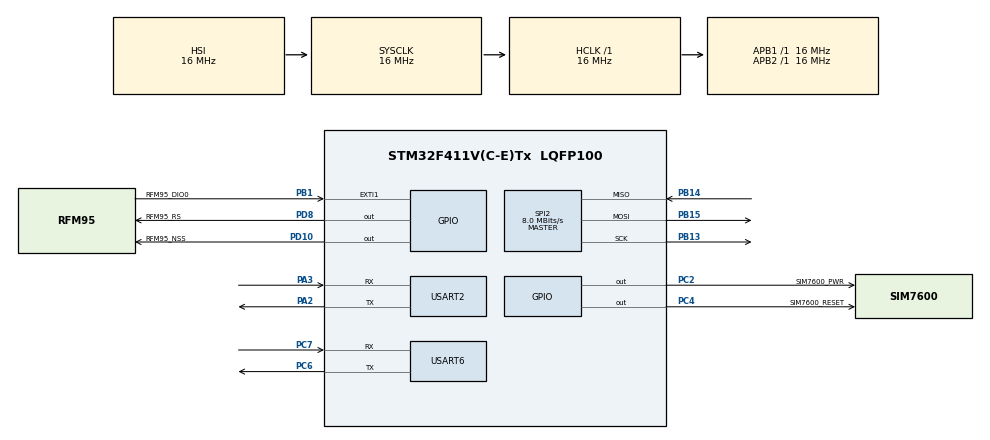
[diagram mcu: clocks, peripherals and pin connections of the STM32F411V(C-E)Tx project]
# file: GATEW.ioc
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Dma.Request0=USART2_RX
Dma.USART2_RX.0.Direction=DMA_PERIPH_TO_MEMORY
Dma.USART2_RX.0.FIFOMode=DMA_FIFOMODE_DISABLE
Dma.USART2_RX.0.Instance=DMA1_Stream5
Dma.USART2_RX.0.MemDataAlignment=DMA_MDATAALIGN_BYTE
Dma.USART2_RX.0.MemInc=DMA_MINC_ENABLE
Dma.USART2_RX.0.Mode=DMA_NORMAL
Dma.USART2_RX.0.PeriphDataAlignment=DMA_PDATAALIGN_BYTE
Dma.USART2_RX.0.PeriphInc=DMA_PINC_DISABLE
Dma.USART2_RX.0.Priority=DMA_PRIORITY_LOW
Mcu.Family=STM32F4
Mcu.Name=STM32F411V(C-E)Tx
Mcu.Package=LQFP100
NVIC.DMA1_Stream5_IRQn=true\:0\:0\:false\:false\:true\:false\:true\:true
NVIC.EXTI1_IRQn=true\:0\:0\:false\:false\:true\:true\:true\:true
NVIC.PriorityGroup=NVIC_PRIORITYGROUP_4
NVIC.USART2_IRQn=true\:0\:0\:true\:false\:true\:true\:true\:true
PA13.Mode=Serial_Wire
PA13.Signal=SYS_JTMS-SWDIO
PA14.Mode=Serial_Wire
PA14.Signal=SYS_JTCK-SWCLK
PA2.Mode=Asynchronous
PA2.Signal=USART2_TX
PA3.Mode=Asynchronous
PA3.Signal=USART2_RX
PB1.GPIO_Label=RFM95_DIO0
PB1.Signal=GPXTI1
PB13.Mode=Full_Duplex_Master
PB13.Signal=SPI2_SCK
PB14.Mode=Full_Duplex_Master
PB14.Signal=SPI2_MISO
PB15.Mode=Full_Duplex_Master
PB15.Signal=SPI2_MOSI
PC2.GPIO_Label=SIM7600_PWR
PC2.Signal=GPIO_Output
PC4.GPIO_Label=SIM7600_RESET
PC4.Signal=GPIO_Output
PC6.Mode=Asynchronous
PC6.Signal=USART6_TX
PC7.Mode=Asynchronous
PC7.Signal=USART6_RX
PD10.GPIO_Label=RFM95_NSS
PD10.Signal=GPIO_Output
PD8.GPIO_Label=RFM95_RS
PD8.Signal=GPIO_Output
ProjectManager.HeapSize=0x200
ProjectManager.StackSize=0x400
ProjectManager.TargetToolchain=STM32CubeIDE
RCC.AHBFreq_Value=16000000
RCC.APB1Freq_Value=16000000
RCC.APB2Freq_Value=16000000
RCC.CortexFreq_Value=16000000
RCC.HSE_VALUE=25000000
RCC.HSI_VALUE=16000000
RCC.LSE_VALUE=32768
RCC.SYSCLKFreq_VALUE=16000000
RCC.VCOOutputFreq_Value=192000000
SPI2.CalculateBaudRate=8.0 MBits/s
SPI2.Direction=SPI_DIRECTION_2LINES
SPI2.Mode=SPI_MODE_MASTER
SPI2.VirtualType=VM_MASTER
USART2.VirtualMode=VM_ASYNC
USART6.VirtualMode=VM_ASYNC
board=custom

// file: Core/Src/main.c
/* USER CODE BEGIN Header */
/**
 ******************************************************************************
 * @file           : main.c
 * @brief          : Main program body
 ******************************************************************************
 * @attention
 *
 * Copyright (c) 2024 STMicroelectronics.
 * All rights reserved.
 *
 * This software is licensed under terms that can be found in the LICENSE file
 * in the root directory of this software component.
 * If no LICENSE file comes with this software, it is provided AS-IS.
 *
 ******************************************************************************
 */
/* USER CODE END Header */
#include "main.h"

/* USER CODE BEGIN Includes */
#include "lora.h"
#include "rfm95.h"
#include "sim7600.h"

#include <stdio.h>
#include <string.h>
/* USER CODE END Includes */

/* USER CODE BEGIN PM */
#define LORA_RESPONSE_SIZE 100U
#define LORA_REQUEST_SIZE  100U
/* USER CODE END PM */

SPI_HandleTypeDef hspi2;

UART_HandleTypeDef huart2;
UART_HandleTypeDef huart6;
DMA_HandleTypeDef hdma_usart2_rx;

/* USER CODE BEGIN PV */
char *CosF = NULL;
char *Voltage = NULL;
char *Current = NULL;
char *Frequency = NULL;
char *ActivePower = NULL;
char *ReactivePower = NULL;
char *AvP = NULL;
char *AvQ = NULL;
char *CTT1 = NULL;
char *CTT2 = NULL;
char *CTT3 = NULL;
char *CTT4 = NULL;
char *coil1 = NULL;
char *coil2 = NULL;
char *coil3 = NULL;
char *coil4 = NULL;
RFM95_HandleTypeDef rfm95w = { 0 };
LORA_HandleTypeDef *lora;
uint8_t msgResLoRa[LORA_RESPONSE_SIZE] = { 0 };
uint8_t messLora[LORA_REQUEST_SIZE] = { 0 };

SIM_HandleTypeDef *simPtr;
SIM_HTTPTypeDef http = { 0 };
SIM_DataTypeDef simData = { 0 };
char pTime[100] = { };

uint8_t irqLoRaFlag = 0;
/* USER CODE END PV */

void SystemClock_Config(void);
static void MX_GPIO_Init(void);
static void MX_DMA_Init(void);
static void MX_SPI2_Init(void);
static void MX_USART2_UART_Init(void);
static void MX_USART6_UART_Init(void);
/* USER CODE BEGIN PFP */

void HAL_UARTEx_RxEventCallback(UART_HandleTypeDef *huart, uint16_t Size) {

	if (huart->Instance == USART2) {
		SIM_checkEvent(simPtr, Size);
	}
}
void HAL_GPIO_EXTI_Callback(uint16_t GPIO_Pin) {
	/* Wake up MCU from stop mode by any EXTI line */
	if (GPIO_Pin == rfm95w.dio0) {
		/* Set flag to read LoRa message */
		irqLoRaFlag = 1;
	}
}
/* USER CODE END PFP */

/* USER CODE BEGIN 0 */
void SIM_Init(void) {

	printf("%s\n", __FUNCTION__);
	/* Khởi tạo biến tĩnh để các giá trị khởi tạo không bị mất đi */
	static SIM7600_HandleTypeDef sim7600 = { 0 };

	/* Khởi tạo giá trị cho con tr�?, biến con tr�? là biến toàn cục */
	simPtr = (SIM_HandleTypeDef*) &sim7600;

	/* Khởi tạo giá trị của các member của struct */
	sim7600.hdma = &hdma_usart2_rx;
	sim7600.huart = &huart2;
	sim7600.smsCnt = 0;
	sim7600.smsPos = 0;
	sim7600.pwrkeyPin = SIM7600_PWR_Pin;
	sim7600.pwrkeyPort = SIM7600_PWR_GPIO_Port;
	sim7600.resetPort = SIM7600_RESET_GPIO_Port;
	sim7600.resetPin = SIM7600_RESET_Pin;
//    sim7600.sleepPort = SIM7600_DTR_GPIO_Port;
//    sim7600.sleepPin = SIM7600_DTR_Pin;
//    sim7600.powerEnPort = SIM7600_PWREN_GPIO_Port;
//    sim7600.powerEnPin = SIM7600_PWREN_Pin;
	sim7600.parent.CSR = 0;

	sim7600.parent.simSendATCommand = (simSendATCommand) &SIM7600_sendATCommand;
	sim7600.parent.simWakeup = (simWakeup) &SIM7600_wakeup;
	sim7600.parent.simSleep = (simSleep) &SIM7600_sleep;
	sim7600.parent.simInit = (simInit) &SIM7600_init;
	sim7600.parent.simSetFunction = (simSetFunction) &SIM7600_setFunction;
	sim7600.parent.simProcess = (simProcess) &SIM7600_process;
	sim7600.parent.simCheckEvent = (simCheckEvent) &SIM7600_checkEvent;
	sim7600.parent.simReadSMS = (simReadSMS) &SIM7600_readSMS;
	sim7600.parent.simSendSMS = (simSendSMS) &SIM7600_sendSMS;
	sim7600.parent.simGetSMSCounter = (simGetSMSCounter) &SIM7600_getSMSCounter;
	sim7600.parent.simCallUSSD = (simCallUSSD) &SIM7600_callUSSD;
	sim7600.parent.simGetRSSI = (simGetRSSI) &SIM7600_getRSSI;
	sim7600.parent.simGetTemperature =
			(simGetTemperature) &SIM7600_getTemperature;
	sim7600.parent.simGetNwtype = (simGetNwtype) &SIM7600_getNetworkType;
	sim7600.parent.simGetSimPhone = (simGetSimPhone) &SIM7600_getSimPhone;
	sim7600.parent.simGetIMEI = (simGetIMEI) &SIM7600_getIMEI;
	sim7600.parent.simGetLocalTime = (simGetLocalTime) &SIM7600_getLocalTime;
	sim7600.parent.simGetFileSize = (simGetFileSize) &SIM7600_getFileSize;
	sim7600.parent.simDeleteFile = (simDeleteFile) &SIM7600_deleteFile;
	sim7600.parent.simSetLocalTimeAuto =
			(simSetLocalTimeAuto) &SIM7600_setLocalTimeAuto;
	sim7600.parent.simSetLocalTimeManual =
			(simSetLocalTimeManual) &SIM7600_setLocalTimeManual;
	sim7600.parent.simSelectPhonebookMem =
			(simSelectPhonebookMem) &SIM7600_selectPhonebookMem;
	sim7600.parent.simSavePhonebook = (simSavePhonebook) &SIM7600_savePhonebook;
	sim7600.parent.simReadPhonebook = (simReadPhonebook) &SIM7600_readPhonebook;
	sim7600.parent.simFindPhonebook = (simFindPhonebook) &SIM7600_findPhonebook;
	sim7600.parent.simSendHTTP = (simSendHTTP) &SIM7600_sendHTTP;
	sim7600.parent.simGetFileHTTP = (simGetFileHTTP) &SIM7600_getFileHTTP;

	/* Khởi tạo module SIM */
	if (THT_OK != SIM_init(simPtr)) {
		printf("Sim init fail\n");

	} else {
		printf("Sim init OK");

		/* Dưa module SIM vào chế độ hoạt động đầy đủ chức năng */
		SIM_setFunction(simPtr, SIM_MODE_FULL);
		SIM_setLocalTimeAuto(simPtr);
		SIM_getLocalTime(simPtr, pTime, 22);
		SIM_getData(simPtr,
				SIM_DR_IMEI | SIM_DR_RSSI | SIM_DR_NWTYPE | SIM_DR_SIMPHONE
						| SIM_DR_TEMP, &simData);
	}
}

void LORA_begin() {
	lora = (LORA_HandleTypeDef*) &rfm95w;

	rfm95w.resetPort = RFM95_RS_GPIO_Port;
	rfm95w.resetPin = RFM95_RS_Pin;
	rfm95w.nssPort = RFM95_NSS_GPIO_Port;
	rfm95w.nssPin = RFM95_NSS_Pin;
	rfm95w.dio0Port = RFM95_DIO0_GPIO_Port;
	rfm95w.dio0 = RFM95_DIO0_Pin;
	rfm95w.hspi = &hspi2;

	rfm95w.parent.init = (loraInit) &RFM95_init;
	rfm95w.parent.transmit = (loraTransmit) &RFM95_transmit;
	rfm95w.parent.receive = (loraReceive) &RFM95_receiveContinuous;
	rfm95w.parent.startReceiveIT =
			(loraStartReceiveOnIRQ) &RFM95_startReceiveIT;
	rfm95w.parent.receiveIT = (loraReceiveOnIRQ) &RFM95_receiveIT;

	rfm95w.parent.getRSSI = (loraGetRSSI) &RFM95_getRSSI;

	if (LORA_init(lora) == THT_OK) {
		printf("LORA OK");
	} else {
		printf("LORA ERROR");
	}
}
void processingValue() {
	char value[98] = { 0 };
	memset(value, '\0', 98);
	memcpy(&value, &msgResLoRa[2], 98);

	CosF = strtok(value, ",");
	Voltage = strtok(NULL, ",");
	Current = strtok(NULL, ",");
	Frequency = strtok(NULL, ",");
	ActivePower = strtok(NULL, ",");
	ReactivePower = strtok(NULL, ",");
	AvP = strtok(NULL, ",");
	AvQ = strtok(NULL, ",");
	CTT1 = strtok(NULL, ",");
	CTT2 = strtok(NULL, ",");
	CTT3 = strtok(NULL, ",");
	CTT4 = strtok(NULL, ",");
	coil1 = strtok(NULL, ",");
	coil2 = strtok(NULL, ",");
	coil3 = strtok(NULL, ",");
	coil4 = strtok(NULL, ",");
	sprintf(http.data, "{\"TIME\":\"%s\""
			",\"CosFi\":\"%s\""
			",\"Voltage\":\"%s\""
			",\"Current\":\"%s\""
			",\"Frequency\":\"%s\""
			",\"ActivePowe\":\"%s\""
			",\"ReactivePower\":\"%s\""
			",\"AvP\":\"%s\""
			",\"AvQ\":\"%s\""
			",\"CTT1\":\"%s\""
			",\"CTT2\":\"%s\""
			",\"CTT3\":\"%s\""
			",\"CTT4\":\"%s\""
			",\"Coil 1\":\"%s\""
			",\"Coil 2\":\"%s\""
			",\"Coil 3\":\"%s\""
			",\"Coil 4\":\"%s\"}", pTime, CosF, Voltage, Current, Frequency,
			ActivePower, ReactivePower, AvP, AvQ, CTT1, CTT2, CTT3, CTT4, coil1,
			coil2, coil3, coil4);
	SIM_sendHTTP(simPtr, &http);
}

void loraHandle() {

	messLora[0] = 0x01;
	messLora[1] = 0x02;

	messLora[LORA_REQUEST_SIZE - 1] = THT_CRC8XOR((uint8_t*) messLora,
	LORA_REQUEST_SIZE - 1);

	LORA_startReceiveIT(lora);
	uint32_t timeStap = HAL_GetTick();
	while (HAL_GetTick() - timeStap < 60000) {
		if (irqLoRaFlag) {
			irqLoRaFlag = 0;
			LORA_receiveIT(lora, msgResLoRa, LORA_RESPONSE_SIZE);
			if (msgResLoRa[0] == messLora[0] && msgResLoRa[1] == messLora[1]) {
				processingValue();
			}
			break;
		}
	}
}

/* USER CODE END 0 */

int main(void)
{

  /* MCU Configuration--------------------------------------------------------*/

  /* Reset of all peripherals, Initializes the Flash interface and the Systick. */
  HAL_Init();

  /* Configure the system clock */
  SystemClock_Config();

  /* Initialize all configured peripherals */
  MX_GPIO_Init();
  MX_DMA_Init();
  MX_SPI2_Init();
  MX_USART2_UART_Init();
  MX_USART6_UART_Init();
  /* USER CODE BEGIN 2 */
	SIM_Init();
	HTTP_init(&http,
			"https://capacitor-129e8-default-rtdb.firebaseio.com/citx.json",
			strlen(
					"https://capacitor-129e8-default-rtdb.firebaseio.com/citx.json"),
			HTTP_URL_URI_RESULT);
	LORA_begin();
  /* USER CODE END 2 */

  /* Infinite loop */
  /* USER CODE BEGIN WHILE */
	while (1) {
		loraHandle();
		HAL_Delay(2000);
    /* USER CODE END WHILE */

	}
}

void SystemClock_Config(void)
{
  RCC_OscInitTypeDef RCC_OscInitStruct = {0};
  RCC_ClkInitTypeDef RCC_ClkInitStruct = {0};

  /** Configure the main internal regulator output voltage
  */
  __HAL_RCC_PWR_CLK_ENABLE();
  __HAL_PWR_VOLTAGESCALING_CONFIG(PWR_REGULATOR_VOLTAGE_SCALE1);

  /** Initializes the RCC Oscillators according to the specified parameters
  * in the RCC_OscInitTypeDef structure.
  */
  RCC_OscInitStruct.OscillatorType = RCC_OSCILLATORTYPE_HSI;
  RCC_OscInitStruct.HSIState = RCC_HSI_ON;
  RCC_OscInitStruct.HSICalibrationValue = RCC_HSICALIBRATION_DEFAULT;
  RCC_OscInitStruct.PLL.PLLState = RCC_PLL_NONE;
  if (HAL_RCC_OscConfig(&RCC_OscInitStruct) != HAL_OK)
  {
    Error_Handler();
  }

  /** Initializes the CPU, AHB and APB buses clocks
  */
  RCC_ClkInitStruct.ClockType = RCC_CLOCKTYPE_HCLK|RCC_CLOCKTYPE_SYSCLK
                              |RCC_CLOCKTYPE_PCLK1|RCC_CLOCKTYPE_PCLK2;
  RCC_ClkInitStruct.SYSCLKSource = RCC_SYSCLKSOURCE_HSI;
  RCC_ClkInitStruct.AHBCLKDivider = RCC_SYSCLK_DIV1;
  RCC_ClkInitStruct.APB1CLKDivider = RCC_HCLK_DIV1;
  RCC_ClkInitStruct.APB2CLKDivider = RCC_HCLK_DIV1;

  if (HAL_RCC_ClockConfig(&RCC_ClkInitStruct, FLASH_LATENCY_0) != HAL_OK)
  {
    Error_Handler();
  }
}

static void MX_SPI2_Init(void)
{

  /* SPI2 parameter configuration*/
  hspi2.Instance = SPI2;
  hspi2.Init.Mode = SPI_MODE_MASTER;
  hspi2.Init.Direction = SPI_DIRECTION_2LINES;
  hspi2.Init.DataSize = SPI_DATASIZE_8BIT;
  hspi2.Init.CLKPolarity = SPI_POLARITY_LOW;
  hspi2.Init.CLKPhase = SPI_PHASE_1EDGE;
  hspi2.Init.NSS = SPI_NSS_SOFT;
  hspi2.Init.BaudRatePrescaler = SPI_BAUDRATEPRESCALER_2;
  hspi2.Init.FirstBit = SPI_FIRSTBIT_MSB;
  hspi2.Init.TIMode = SPI_TIMODE_DISABLE;
  hspi2.Init.CRCCalculation = SPI_CRCCALCULATION_DISABLE;
  hspi2.Init.CRCPolynomial = 10;
  if (HAL_SPI_Init(&hspi2) != HAL_OK)
  {
    Error_Handler();
  }

}

static void MX_USART2_UART_Init(void)
{

  huart2.Instance = USART2;
  huart2.Init.BaudRate = 115200;
  huart2.Init.WordLength = UART_WORDLENGTH_8B;
  huart2.Init.StopBits = UART_STOPBITS_1;
  huart2.Init.Parity = UART_PARITY_NONE;
  huart2.Init.Mode = UART_MODE_TX_RX;
  huart2.Init.HwFlowCtl = UART_HWCONTROL_NONE;
  huart2.Init.OverSampling = UART_OVERSAMPLING_16;
  if (HAL_UART_Init(&huart2) != HAL_OK)
  {
    Error_Handler();
  }

}

static void MX_USART6_UART_Init(void)
{

  huart6.Instance = USART6;
  huart6.Init.BaudRate = 115200;
  huart6.Init.WordLength = UART_WORDLENGTH_8B;
  huart6.Init.StopBits = UART_STOPBITS_1;
  huart6.Init.Parity = UART_PARITY_NONE;
  huart6.Init.Mode = UART_MODE_TX_RX;
  huart6.Init.HwFlowCtl = UART_HWCONTROL_NONE;
  huart6.Init.OverSampling = UART_OVERSAMPLING_16;
  if (HAL_UART_Init(&huart6) != HAL_OK)
  {
    Error_Handler();
  }

}

static void MX_DMA_Init(void)
{

  /* DMA controller clock enable */
  __HAL_RCC_DMA1_CLK_ENABLE();

  /* DMA interrupt init */
  /* DMA1_Stream5_IRQn interrupt configuration */
  HAL_NVIC_SetPriority(DMA1_Stream5_IRQn, 0, 0);
  HAL_NVIC_EnableIRQ(DMA1_Stream5_IRQn);

}

static void MX_GPIO_Init(void)
{
  GPIO_InitTypeDef GPIO_InitStruct = {0};

  /* GPIO Ports Clock Enable */
  __HAL_RCC_GPIOC_CLK_ENABLE();
  __HAL_RCC_GPIOA_CLK_ENABLE();
  __HAL_RCC_GPIOB_CLK_ENABLE();
  __HAL_RCC_GPIOD_CLK_ENABLE();

  /*Configure GPIO pin Output Level */
  HAL_GPIO_WritePin(GPIOC, SIM7600_PWR_Pin|SIM7600_RESET_Pin, GPIO_PIN_RESET);

  /*Configure GPIO pin Output Level */
  HAL_GPIO_WritePin(GPIOD, RFM95_RS_Pin|RFM95_NSS_Pin, GPIO_PIN_RESET);

  /*Configure GPIO pins : SIM7600_PWR_Pin SIM7600_RESET_Pin */
  GPIO_InitStruct.Pin = SIM7600_PWR_Pin|SIM7600_RESET_Pin;
  GPIO_InitStruct.Mode = GPIO_MODE_OUTPUT_PP;
  GPIO_InitStruct.Pull = GPIO_NOPULL;
  GPIO_InitStruct.Speed = GPIO_SPEED_FREQ_LOW;
  HAL_GPIO_Init(GPIOC, &GPIO_InitStruct);

  /*Configure GPIO pin : RFM95_DIO0_Pin */
  GPIO_InitStruct.Pin = RFM95_DIO0_Pin;
  GPIO_InitStruct.Mode = GPIO_MODE_IT_RISING;
  GPIO_InitStruct.Pull = GPIO_NOPULL;
  HAL_GPIO_Init(RFM95_DIO0_GPIO_Port, &GPIO_InitStruct);

  /*Configure GPIO pins : RFM95_RS_Pin RFM95_NSS_Pin */
  GPIO_InitStruct.Pin = RFM95_RS_Pin|RFM95_NSS_Pin;
  GPIO_InitStruct.Mode = GPIO_MODE_OUTPUT_PP;
  GPIO_InitStruct.Pull = GPIO_NOPULL;
  GPIO_InitStruct.Speed = GPIO_SPEED_FREQ_LOW;
  HAL_GPIO_Init(GPIOD, &GPIO_InitStruct);

  /* EXTI interrupt init*/
  HAL_NVIC_SetPriority(EXTI1_IRQn, 0, 0);
  HAL_NVIC_EnableIRQ(EXTI1_IRQn);

}

void Error_Handler(void)
{
	__disable_irq();
	while (1) {
	}
}
